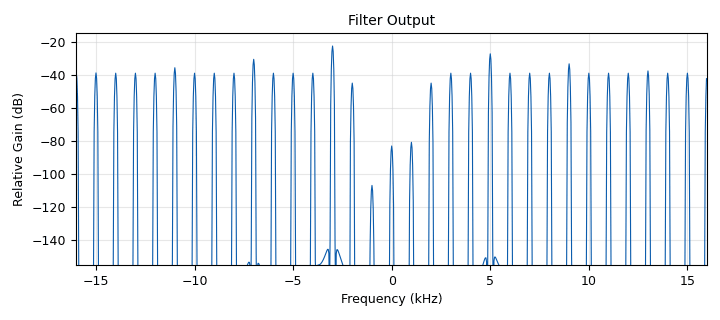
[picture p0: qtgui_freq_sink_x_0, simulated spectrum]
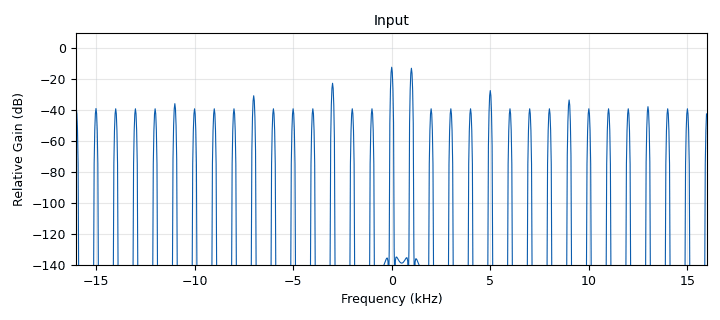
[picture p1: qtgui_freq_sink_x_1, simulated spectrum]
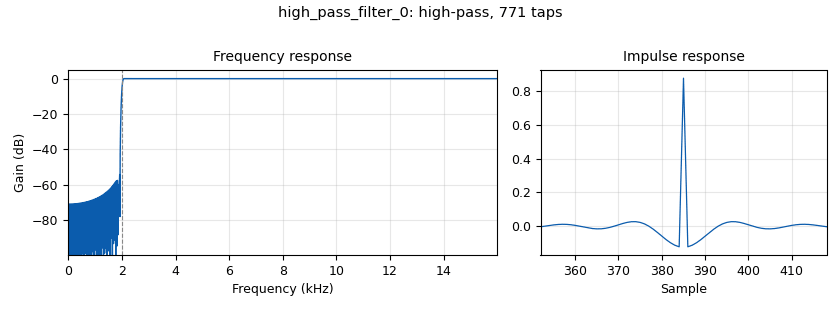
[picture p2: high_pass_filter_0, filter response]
options:
  parameters:
    generate_options: qt_gui
    id: complex_filter_high_pass
    output_language: python
    title: complex filter high pass
  states: {}

blocks:
- name: GHZ
  id: variable
  parameters:
    value: '1000'
  states: {}
- name: samp_rate
  id: variable
  parameters:
    value: '32000'
  states: {}
- name: analog_sig_source_x_0
  id: analog_sig_source_x
  parameters:
    amp: '1'
    freq: '1000'
    offset: '0'
    phase: '0'
    samp_rate: samp_rate
    type: complex
    waveform: analog.GR_SQR_WAVE
  states: {}
- name: blocks_throttle_0
  id: blocks_throttle
  parameters:
    samples_per_second: samp_rate
    type: complex
  states: {}
- name: high_pass_filter_0
  id: high_pass_filter
  parameters:
    cutoff_freq: 2*GHZ
    decim: '1'
    gain: '1'
    samp_rate: samp_rate
    type: fir_filter_ccf
    width: '100'
    win: window.WIN_HAMMING
  states: {}
- name: qtgui_freq_sink_x_0
  id: qtgui_freq_sink_x
  parameters:
    autoscale: 'True'
    bw: samp_rate
    fc: '0'
    fftsize: '1024'
    grid: 'True'
    name: '"Filter Output"'
    type: complex
  states: {}
- name: qtgui_freq_sink_x_1
  id: qtgui_freq_sink_x
  parameters:
    bw: samp_rate
    fc: '0'
    fftsize: '1024'
    name: '"Input"'
    type: complex
  states: {}

connections:
- [analog_sig_source_x_0, '0', blocks_throttle_0, '0']
- [blocks_throttle_0, '0', high_pass_filter_0, '0']
- [blocks_throttle_0, '0', qtgui_freq_sink_x_1, '0']
- [high_pass_filter_0, '0', qtgui_freq_sink_x_0, '0']

metadata:
  file_format: 1
  grc_version: 3.10.5.1
